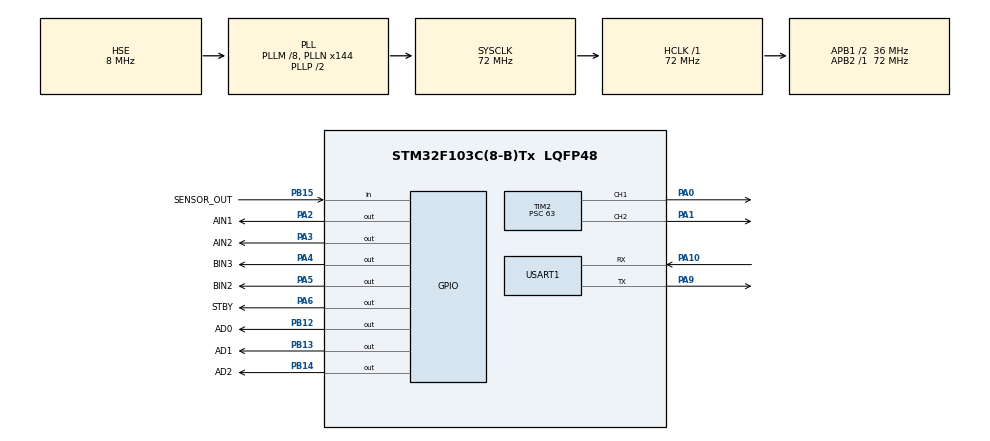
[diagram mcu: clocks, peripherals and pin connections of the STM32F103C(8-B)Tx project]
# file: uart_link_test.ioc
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Mcu.Family=STM32F1
Mcu.Name=STM32F103C(8-B)Tx
Mcu.Package=LQFP48
NVIC.PriorityGroup=NVIC_PRIORITYGROUP_4
NVIC.USART1_IRQn=true\:0\:0\:false\:false\:true\:true\:true\:true
PA0-WKUP.Signal=S_TIM2_CH1_ETR
PA1.Signal=S_TIM2_CH2
PA10.Mode=Asynchronous
PA10.Signal=USART1_RX
PA2.GPIO_Label=AIN1
PA2.Signal=GPIO_Output
PA3.GPIO_Label=AIN2
PA3.Signal=GPIO_Output
PA4.GPIO_Label=BIN3
PA4.Signal=GPIO_Output
PA5.GPIO_Label=BIN2
PA5.Signal=GPIO_Output
PA6.GPIO_Label=STBY
PA6.Signal=GPIO_Output
PA9.Mode=Asynchronous
PA9.Signal=USART1_TX
PB12.GPIO_Label=AD0
PB12.GPIO_ModeDefaultOutputPP=GPIO_MODE_OUTPUT_PP
PB12.Signal=GPIO_Output
PB13.GPIO_Label=AD1
PB13.Signal=GPIO_Output
PB14.GPIO_Label=AD2
PB14.Signal=GPIO_Output
PB15.GPIO_Label=SENSOR_OUT
PB15.GPIO_PuPd=GPIO_NOPULL
PB15.Signal=GPIO_Input
PD0-OSC_IN.Mode=HSE-External-Oscillator
PD0-OSC_IN.Signal=RCC_OSC_IN
PD1-OSC_OUT.Mode=HSE-External-Oscillator
PD1-OSC_OUT.Signal=RCC_OSC_OUT
ProjectManager.HeapSize=0x200
ProjectManager.StackSize=0x400
ProjectManager.TargetToolchain=MDK-ARM V5.32
RCC.AHBFreq_Value=72000000
RCC.APB1CLKDivider=RCC_HCLK_DIV2
RCC.APB1Freq_Value=36000000
RCC.APB1TimFreq_Value=72000000
RCC.APB2Freq_Value=72000000
RCC.APB2TimFreq_Value=72000000
RCC.HCLKFreq_Value=72000000
RCC.PLLMUL=RCC_PLL_MUL9
RCC.PLLSourceVirtual=RCC_PLLSOURCE_HSE
RCC.SYSCLKFreq_VALUE=72000000
RCC.SYSCLKSource=RCC_SYSCLKSOURCE_PLLCLK
RCC.USBFreq_Value=72000000
SH.S_TIM2_CH1_ETR.0=TIM2_CH1,PWM Generation1 CH1
SH.S_TIM2_CH2.0=TIM2_CH2,PWM Generation2 CH2
TIM2.Channel-PWM\ Generation1\ CH1=TIM_CHANNEL_1
TIM2.Channel-PWM\ Generation2\ CH2=TIM_CHANNEL_2
TIM2.Period=999
TIM2.Prescaler=63
USART1.VirtualMode=VM_ASYNC
VP_SYS_VS_ND.Mode=No_Debug
VP_TIM2_VS_ClockSourceINT.Mode=Internal
board=custom

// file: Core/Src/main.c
/* USER CODE BEGIN Header */
/**
  * @file           : main.c
  * @brief          : TDPS 底盘控制核心 - 完整实现版
  * @author         : Yuxuan Shi
  * @description    : 实现基于 72MHz 主控的小车、8路传感器循线、TB6612 电机驱动，
  *                   以及基于串口的指令控制逻辑（对接香橙派上位机）。
  *
  * ===================== 通信协议说明 =====================
  * 【上位机 → STM32】帧格式：  $<CMD>[<PARAM>]#<XOR>\n
  *   - $        : 帧头
  *   - CMD      : 单字符指令（见下表）
  *   - PARAM    : 可选参数，整数字符串（仅 V 指令使用）
  *   - #        : 参数结束符
  *   - XOR      : 帧头到#之间所有字节的异或校验值（2位十六进制ASCII）
  *   - \n       : 帧尾
  *
  *   指令表：
  *     T  - 切换到自动循线模式
  *     S  - 停止并切回手动模式
  *     F  - 手动前进
  *     B  - 手动后退
  *     L  - 手动原地左转
  *     R  - 手动原地右转
  *     V<speed> - 设置基础速度，如 $V600#XX\n
  *     H  - 心跳包（上位机每隔一段时间发一次，防止超时停车）
  *
  * 【STM32 → 上位机】状态上报（每 200ms 一次）：
  *   格式：  $S<mode>,<lspd>,<rspd>,<sensor>,<error>#<XOR>\n
  *   示例：  $S1,450,-200,0b00011000,0.50#XX\n
  *     - mode   : 当前模式（0=手动，1=循线）
  *     - lspd   : 左轮当前速度
  *     - rspd   : 右轮当前速度
  *     - sensor : 传感器原始值（十六进制）
  *     - error  : 当前循线误差
  * ========================================================
  */
/* USER CODE END Header */

#include "main.h"
#include "tim.h"
#include "usart.h"
#include "gpio.h"

/* USER CODE BEGIN Includes */
#include "motor.h"
#include "sensor.h"
#include "encoder.h"
#include <string.h>
#include <stdio.h>
#include <stdlib.h>  // atoi
/* USER CODE END Includes */

/* USER CODE BEGIN PV */
uint8_t rx_data;       // 串口中断接收缓冲，每次接收 1 字节
uint8_t work_mode = 0; // 工作模式：0=手动，1=自动循线

// PD 控制器状态
static float last_error = 0.0f;

// 当前速度记录（用于状态上报）
static int current_left_speed  = 0;
static int current_right_speed = 0;

// 基础巡线速度（可由上位机通过 V 指令动态修改）
static int base_speed = 450;

// -------- 帧解析状态机 --------
#define RX_BUF_SIZE 32
static uint8_t  rx_buf[RX_BUF_SIZE]; // 帧缓冲区
static uint8_t  rx_idx = 0;          // 当前写入位置
static uint8_t  in_frame = 0;        // 是否正在接收帧

// -------- 心跳超时保护 --------
// 上位机必须在 HEARTBEAT_TIMEOUT_MS 内发送任意指令（包括 H 心跳包），否则自动停车
#define HEARTBEAT_TIMEOUT_MS 500
static uint32_t last_rx_tick = 0;    // 上次收到有效帧的时间戳（HAL_GetTick）

// -------- 状态上报定时 --------
#define STATUS_REPORT_MS 200
static uint32_t last_report_tick = 0; // 上次上报时间戳
/* USER CODE END PV */

void SystemClock_Config(void);

/* USER CODE BEGIN PFP */
static uint8_t  calc_xor(const uint8_t *data, uint8_t len);
static void     process_frame(const uint8_t *frame, uint8_t len);
static void     send_status(void);
/* USER CODE END PFP */

/* ---------------------------------------------------------------------------*/
/* 主程序入口 */
/* ---------------------------------------------------------------------------*/
int main(void)
{
  /* 硬件基础初始化 */
  HAL_Init();
  SystemClock_Config();

  /* 初始化所有外设 */
  MX_GPIO_Init();
  MX_USART1_UART_Init();
  MX_TIM2_Init();

  /* USER CODE BEGIN 2 */
  Motor_Init();
  Encoder_Init();
  char clk_msg[128];

snprintf(clk_msg, sizeof(clk_msg),
    "SYSCLK=%lu HCLK=%lu PCLK1=%lu PCLK2=%lu\r\n",
     HAL_RCC_GetSysClockFreq(),
     HAL_RCC_GetHCLKFreq(),
     HAL_RCC_GetPCLK1Freq(),
     HAL_RCC_GetPCLK2Freq());

HAL_UART_Transmit(&huart1, (uint8_t*)clk_msg, strlen(clk_msg), 1000);

  // 记录启动时间，防止上电后立即触发超时停车
  last_rx_tick = HAL_GetTick();

  char *start_msg = ">>> TDPS AGV: System Ready (Manual Mode)\r\n";
  HAL_UART_Transmit(&huart1, (uint8_t*)start_msg, strlen(start_msg), 100);

  // 开启串口中断接收
  HAL_UART_Receive_IT(&huart1, &rx_data, 1);
  /* USER CODE END 2 */

  /* 主循环 */
  /* USER CODE BEGIN WHILE */
  while (1)
  {
    uint32_t now = HAL_GetTick();

    // -------- 心跳超时检测 --------
    // 若超过 HEARTBEAT_TIMEOUT_MS 没收到任何帧，认为上位机断连，强制停车
    if ((now - last_rx_tick) > HEARTBEAT_TIMEOUT_MS)
    {
        if (work_mode != 0 || current_left_speed != 0 || current_right_speed != 0)
        {
            work_mode = 0;
            Motor_Stop();
            current_left_speed  = 0;
            current_right_speed = 0;
            HAL_UART_Transmit(&huart1, (uint8_t*)"!TIMEOUT\r\n", 10, 10);
        }
    }

    // -------- 自动循线模式 --------
    if (work_mode == 1)
    {
        float error   = Get_Tracking_Error();
        float Kp      = 120.0f;
        float Kd      = 80.0f;
        float d_error = error - last_error;
        last_error    = error;

        // 弯道自适应速度：误差越大说明弯越急，自动降速
        // base_speed 是香橙派设定的上限，实际速度在此基础上根据误差缩减
        int adaptive_speed;
        float abs_error = error < 0 ? -error : error;
        if (abs_error < 1.0f) {
            // 直线或微弯，全速
            adaptive_speed = base_speed;
        } else if (abs_error < 2.5f) {
            // 中等弯道，降到 70%
            adaptive_speed = (int)(base_speed * 0.7f);
        } else {
            // 急弯，降到 45%
            adaptive_speed = (int)(base_speed * 0.45f);
        }

        int correction = (int)(Kp * error + Kd * d_error);
        int lspd = adaptive_speed + correction;
        int rspd = adaptive_speed - correction;

        if(lspd >  999) lspd =  999;
        if(lspd < -999) lspd = -999;
        if(rspd >  999) rspd =  999;
        if(rspd < -999) rspd = -999;

        Motor_SetSpeed(lspd, rspd);
        current_left_speed  = lspd;
        current_right_speed = rspd;

        Encoder_Update();
        HAL_Delay(20);
    }
    // -------- 手动模式/空闲 --------
    else
    {
        Encoder_Update();
        HAL_Delay(20);
    }

    // -------- 定时状态上报 --------
    // 每 STATUS_REPORT_MS 向香橙派发送一次完整状态帧
    if ((HAL_GetTick() - last_report_tick) >= STATUS_REPORT_MS)
    {
        last_report_tick = HAL_GetTick();
        send_status();
    }
    /* USER CODE END WHILE */
  }
}

/* USER CODE BEGIN 4 */

/**
 * @brief 计算异或校验值
 * @param data 数据起始指针
 * @param len  数据长度
 * @return 所有字节异或结果
 */
static uint8_t calc_xor(const uint8_t *data, uint8_t len)
{
    uint8_t xor_val = 0;
    for (uint8_t i = 0; i < len; i++) {
        xor_val ^= data[i];
    }
    return xor_val;
}

/**
 * @brief 解析并执行一帧完整指令
 * @param frame 帧内容（不含帧头$和帧尾\n，包含CMD、PARAM、#、XOR）
 * @param len   帧长度
 *
 * 帧格式示例（去掉$和\n后）：T#XX  或  V600#XX
 * 校验范围：从$到#（含#）之间的所有字节
 */
static void process_frame(const uint8_t *frame, uint8_t len)
{
    // 最短帧：CMD + '#' + 2位XOR = 4字节
    if (len < 4) return;

    // 找到 '#' 的位置
    int hash_pos = -1;
    for (int i = 0; i < len; i++) {
        if (frame[i] == '#') {
            hash_pos = i;
            break;
        }
    }
    if (hash_pos < 0 || hash_pos + 2 >= len) return;

    // 解析校验值（2位十六进制ASCII → uint8_t）
    char xor_str[3] = {frame[hash_pos + 1], frame[hash_pos + 2], '\0'};
    uint8_t recv_xor = (uint8_t)strtol(xor_str, NULL, 16);

    // 重新计算校验：范围是 '$' + frame[0..hash_pos]
    // 因为帧头$已经被状态机消耗，这里手动把$加进去
    uint8_t calc = '$';
    for (int i = 0; i <= hash_pos; i++) {
        calc ^= frame[i];
    }

    // 校验不通过，丢弃该帧
    if (calc != recv_xor) {
        HAL_UART_Transmit(&huart1, (uint8_t*)"!CRCERR\r\n", 9, 10);
        return;
    }

    // 更新心跳时间戳（任何有效帧都刷新）
    last_rx_tick = HAL_GetTick();

    // 解析指令字符和可选参数
    uint8_t cmd = frame[0];
    int param = 0;
    if (hash_pos > 1) {
        // CMD 后面跟着参数字符串，转成整数
        char param_str[16] = {0};
        int plen = hash_pos - 1;
        if (plen >= (int)sizeof(param_str)) plen = sizeof(param_str) - 1;
        memcpy(param_str, &frame[1], plen);
        param = atoi(param_str);
    }

    // 执行指令
    switch (cmd)
    {
        case 'T': // 切换到自动循线模式
            work_mode  = 1;
            last_error = 0.0f;
            break;

        case 'S': // 停止并切回手动模式
            work_mode = 0;
            Motor_Stop();
            current_left_speed  = 0;
            current_right_speed = 0;
            break;

        case 'F': // 手动前进
            if (work_mode == 0) {
                Motor_SetSpeed(base_speed, base_speed);
                current_left_speed  = base_speed;
                current_right_speed = base_speed;
            }
            break;

        case 'B': // 手动后退
            if (work_mode == 0) {
                Motor_SetSpeed(-base_speed, -base_speed);
                current_left_speed  = -base_speed;
                current_right_speed = -base_speed;
            }
            break;

        case 'L': // 手动原地左转
            if (work_mode == 0) {
                Motor_SetSpeed(-base_speed, base_speed);
                current_left_speed  = -base_speed;
                current_right_speed =  base_speed;
            }
            break;

        case 'R': // 手动原地右转
            if (work_mode == 0) {
                Motor_SetSpeed(base_speed, -base_speed);
                current_left_speed  =  base_speed;
                current_right_speed = -base_speed;
            }
            break;

        case 'V': // 动态设置基础速度，参数范围 0-999
            if (param > 0 && param <= 999) {
                base_speed = param;
            }
            break;

        case 'H': // 心跳包，仅刷新时间戳，不做其他操作
            break;

        default:
            break;
    }

    // 回执 ACK
    HAL_UART_Transmit(&huart1, (uint8_t*)"ACK\r\n", 5, 10);
}

/**
 * @brief 向香橙派发送一帧完整状态信息
 *
 * 格式：$S<mode>,<lspd>,<rspd>,<sensor_hex>,<error>#<XOR>\r\n
 * 示例：$S1,450,-200,18,0.50#3A\r\n
 */
static void send_status(void)
{
    uint8_t  sensor_raw = Read_8Way_Sensor();
    float    error      = Get_Tracking_Error();
    int32_t  enc_l      = Encoder_GetLeft();
    int32_t  enc_r      = Encoder_GetRight();

    char body[64];
    int body_len = snprintf(body, sizeof(body),
        "S%d,%d,%d,%02X,%.2f,%ld,%ld#",
        work_mode,
        current_left_speed,
        current_right_speed,
        sensor_raw,
        error,
        enc_l,
        enc_r
    );

    // 计算校验：'$' 异或 body 所有字节（含末尾的#）
    uint8_t xor_val = '$';
    for (int i = 0; i < body_len; i++) {
        xor_val ^= (uint8_t)body[i];
    }

    // 拼接完整帧
    char frame[64];
    int frame_len = snprintf(frame, sizeof(frame), "$%s%02X\r\n", body, xor_val);

    HAL_UART_Transmit(&huart1, (uint8_t*)frame, frame_len, 20);
}

/**
 * @brief 串口接收完成回调（中断触发）
 * @note  每次收到 1 字节就进入这里，用状态机拼装完整帧
 */
void HAL_UART_RxCpltCallback(UART_HandleTypeDef *huart)
{
    if (huart->Instance != USART1) return;

    uint8_t byte = rx_data;

    if (byte == '$') {
        // 收到帧头，重置状态机，开始接收新帧
        rx_idx   = 0;
        in_frame = 1;
    }
    else if (in_frame)
    {
        if (byte == '\n') {
            // 收到帧尾，交给 process_frame 处理
            in_frame = 0;
            process_frame(rx_buf, rx_idx);
            rx_idx = 0;
        }
        else if (byte == '\r') {
            // 忽略 \r，兼容 \r\n 结尾的串口助手
        }
        else {
            // 普通数据字节，写入缓冲区
            if (rx_idx < RX_BUF_SIZE - 1) {
                rx_buf[rx_idx++] = byte;
            } else {
                // 缓冲区溢出，丢弃当前帧
                in_frame = 0;
                rx_idx   = 0;
            }
        }
    }

    // 重新挂载中断，继续监听下一字节
    HAL_UART_Receive_IT(&huart1, &rx_data, 1);
}
/* USER CODE END 4 */

/**
  * @brief 系统时钟配置，HSE 8MHz → PLL → 72MHz (F411CEU6)
  *
  * PLL 参数推导：
  *   VCO 输入 = HSE / PLLM = 8MHz / 8 = 1MHz
  *   VCO 输出 = VCO输入 × PLLN = 1MHz × 144 = 144MHz
  *   SYSCLK   = VCO输出 / PLLP = 144MHz / 2 = 72MHz
  *   USB时钟  = VCO输出 / PLLQ = 144MHz / 3 = 48MHz（USB 固定需要 48MHz）
  *
  * 总线时钟：
  *   AHB  (HCLK)  = SYSCLK / 1 = 72MHz
  *   APB1 (PCLK1) = HCLK   / 2 = 36MHz（APB1 最大 50MHz，满足）
  *   APB2 (PCLK2) = HCLK   / 1 = 72MHz
  *
  * Flash 延迟：72MHz 时需要 2 个等待周期（FLASH_LATENCY_2），
  * 等待周期不够会导致 CPU 读到错误指令，是常见的上电死机原因。
  *
  * 电压档位：SCALE2（1.2V 内核电压）支持最高 84MHz，72MHz 完全够用，
  * 比 SCALE1 省电。
  */
void SystemClock_Config(void)
{
    RCC_OscInitTypeDef RCC_OscInitStruct = {0};
    RCC_ClkInitTypeDef RCC_ClkInitStruct = {0};

    __HAL_RCC_PWR_CLK_ENABLE();
    __HAL_PWR_VOLTAGESCALING_CONFIG(PWR_REGULATOR_VOLTAGE_SCALE2);

    RCC_OscInitStruct.OscillatorType = RCC_OSCILLATORTYPE_HSE;
    RCC_OscInitStruct.HSEState       = RCC_HSE_ON;
    RCC_OscInitStruct.PLL.PLLState   = RCC_PLL_ON;
    RCC_OscInitStruct.PLL.PLLSource  = RCC_PLLSOURCE_HSE;
    RCC_OscInitStruct.PLL.PLLM       = 8;              // HSE 8MHz / 8 = 1MHz VCO 输入（板载 8MHz 晶振）
    RCC_OscInitStruct.PLL.PLLN       = 144;             // 1MHz × 144 = 144MHz VCO
    RCC_OscInitStruct.PLL.PLLP       = RCC_PLLP_DIV2;  // 144 / 2 = 72MHz SYSCLK
    RCC_OscInitStruct.PLL.PLLQ       = 3;              // 144 / 3 = 48MHz USB
    if (HAL_RCC_OscConfig(&RCC_OscInitStruct) != HAL_OK) {
        Error_Handler();
    }

    RCC_ClkInitStruct.ClockType      = RCC_CLOCKTYPE_HCLK | RCC_CLOCKTYPE_SYSCLK
                                     | RCC_CLOCKTYPE_PCLK1 | RCC_CLOCKTYPE_PCLK2;
    RCC_ClkInitStruct.SYSCLKSource   = RCC_SYSCLKSOURCE_PLLCLK;
    RCC_ClkInitStruct.AHBCLKDivider  = RCC_SYSCLK_DIV1;  // HCLK  = 72MHz
    RCC_ClkInitStruct.APB1CLKDivider = RCC_HCLK_DIV2;    // APB1  = 36MHz
    RCC_ClkInitStruct.APB2CLKDivider = RCC_HCLK_DIV1;    // APB2  = 72MHz
    if (HAL_RCC_ClockConfig(&RCC_ClkInitStruct, FLASH_LATENCY_2) != HAL_OK) {
        Error_Handler();
    }
}

/**
  * @brief 错误处理
  */
void Error_Handler(void)
{
    __disable_irq();
    while (1) { /* 死循环，可通过调试器查看状态 */ }
}
